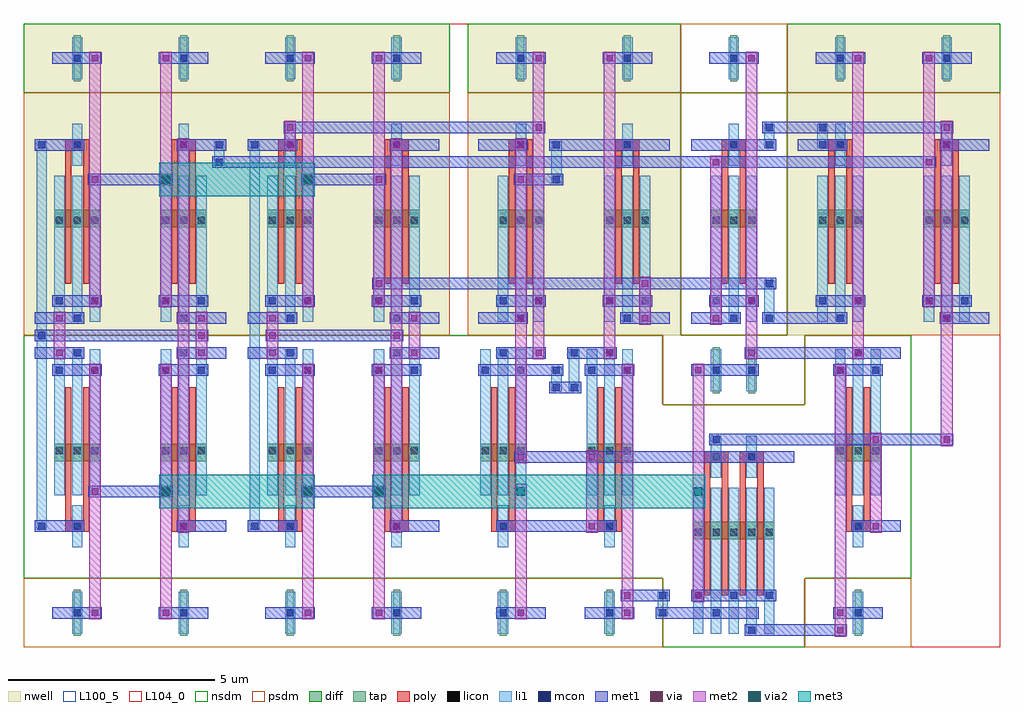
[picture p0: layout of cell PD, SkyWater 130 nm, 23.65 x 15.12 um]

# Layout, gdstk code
import gdstk
lib = gdstk.Library(unit=1e-6, precision=1e-09)
def R(c, l, rs):  # rectangles x0, y0, x1, y1
    for r in rs: c.add(gdstk.rectangle(r[:2], r[2:], *l))
def A(c, l, x, y, w, h, nx, ny, dx, dy):  # array of equal rectangles
    R(c, l, [(x+i*dx, y+j*dy, x+i*dx+w, y+j*dy+h) for i in range(nx) for j in range(ny)])
nwell = (64, 20)
diff = (65, 20)
tap = (65, 44)
poly = (66, 20)
licon = (66, 44)
li1 = (67, 20)
mcon = (67, 44)
met1 = (68, 20)
via = (68, 44)
met2 = (69, 20)
via2 = (69, 44)
met3 = (70, 20)
nsdm = (93, 44)
psdm = (94, 20)
L100_5 = (100, 5)
L104_0 = (104, 0)

c_pd = lib.new_cell('PD')
A(c_pd, nwell, 0, 7.56, 2.58, 7.56, 4, 1, 2.58, 0)
R(c_pd, nwell, [(10.75,7.56,13.33,15.12), (13.33,7.56,15.91,15.12), (18.49,7.56,21.07,15.12), (21.07,7.56,23.65,15.12)])
A(c_pd, diff, 0.735, 4.515, 1.11, 0.42, 6, 1, 2.58, 0)
A(c_pd, diff, 0.735, 10.185, 1.11, 0.42, 4, 1, 2.58, 0)
A(c_pd, diff, 11.485, 10.185, 1.11, 0.42, 5, 1, 2.58, 0)
R(c_pd, diff, [(16.215,2.625,18.185,3.045), (19.655,4.515,20.765,4.935)])
A(c_pd, tap, 1.205, 0.28, 0.17, 1.12, 6, 1, 2.58, 0)
A(c_pd, tap, 1.205, 13.72, 0.17, 1.12, 4, 1, 2.58, 0)
A(c_pd, tap, 11.955, 13.72, 0.17, 1.12, 5, 1, 2.58, 0)
R(c_pd, tap, [(20.125,0.28,20.295,1.4), (16.685,6.16,16.855,7.28), (17.545,6.16,17.715,7.28)])
A(c_pd, poly, 16.48, 1.26, 0.15, 3.36, 4, 1, 0.43, 0)
A(c_pd, poly, 1, 2.805, 0.58, 0.27, 6, 1, 2.58, 0)
A(c_pd, poly, 1, 12.045, 0.58, 0.27, 4, 1, 2.58, 0)
A(c_pd, poly, 11.75, 12.045, 0.58, 0.27, 5, 1, 2.58, 0)
R(c_pd, poly, [(19.92,2.805,20.5,3.075), (1,2.94,1.15,6.3), (1.43,2.94,1.58,6.3), (3.58,2.94,3.73,6.3), (4.01,2.94,4.16,6.3), (6.16,2.94,6.31,6.3), (6.59,2.94,6.74,6.3), (8.74,2.94,8.89,6.3), (9.17,2.94,9.32,6.3), (11.32,2.94,11.47,6.3), (11.75,2.94,11.9,6.3), (13.9,2.94,14.05,6.3), (14.33,2.94,14.48,6.3), (19.92,2.94,20.07,6.3), (20.35,2.94,20.5,6.3), (16.48,4.485,17.06,4.755), (17.34,4.485,17.92,4.755), (1,8.82,1.15,12.18), (1.43,8.82,1.58,12.18), (3.58,8.82,3.73,12.18), (4.01,8.82,4.16,12.18), (6.16,8.82,6.31,12.18), (6.59,8.82,6.74,12.18), (8.74,8.82,8.89,12.18), (9.17,8.82,9.32,12.18), (11.75,8.82,11.9,12.18), (12.18,8.82,12.33,12.18), (14.33,8.82,14.48,12.18), (14.76,8.82,14.91,12.18), (16.91,8.82,17.06,12.18), (17.34,8.82,17.49,12.18), (19.49,8.82,19.64,12.18), (19.92,8.82,20.07,12.18), (22.07,8.82,22.22,12.18), (22.5,8.82,22.65,12.18)])
A(c_pd, licon, 1.205, 0.755, 0.17, 0.17, 6, 2, 2.58, 2.1)
A(c_pd, licon, 16.255, 2.705, 0.17, 0.17, 3, 1, 0.43, 0)
A(c_pd, licon, 17.115, 2.705, 0.17, 0.17, 3, 1, 0.43, 0)
A(c_pd, licon, 0.775, 4.685, 0.17, 0.17, 3, 2, 0.43, 5.58)
A(c_pd, licon, 3.355, 4.685, 0.17, 0.17, 3, 2, 0.43, 5.58)
A(c_pd, licon, 5.935, 4.685, 0.17, 0.17, 3, 2, 0.43, 5.58)
A(c_pd, licon, 8.515, 4.685, 0.17, 0.17, 3, 2, 0.43, 5.58)
A(c_pd, licon, 11.095, 4.685, 0.17, 0.17, 3, 1, 0.43, 0)
A(c_pd, licon, 13.675, 4.685, 0.17, 0.17, 3, 1, 0.43, 0)
A(c_pd, licon, 19.695, 4.685, 0.17, 0.17, 3, 1, 0.43, 0)
A(c_pd, licon, 11.525, 10.265, 0.17, 0.17, 3, 1, 0.43, 0)
A(c_pd, licon, 14.105, 10.265, 0.17, 0.17, 3, 1, 0.43, 0)
A(c_pd, licon, 16.685, 10.265, 0.17, 0.17, 3, 1, 0.43, 0)
A(c_pd, licon, 19.265, 10.265, 0.17, 0.17, 3, 1, 0.43, 0)
A(c_pd, licon, 21.845, 10.265, 0.17, 0.17, 3, 1, 0.43, 0)
A(c_pd, licon, 1.205, 12.095, 0.17, 0.17, 4, 2, 2.58, 2.1)
A(c_pd, licon, 11.955, 12.095, 0.17, 0.17, 5, 2, 2.58, 2.1)
R(c_pd, licon, [(20.125,0.755,20.295,0.925), (20.125,2.855,20.295,3.025), (16.685,4.535,16.855,4.705), (17.545,4.535,17.715,4.705), (16.685,6.635,16.855,6.805), (17.545,6.635,17.715,6.805)])
A(c_pd, li1, 1.165, 0.335, 0.25, 1.01, 6, 2, 2.58, 2.1)
A(c_pd, li1, 16.215, 0.335, 0.25, 3.53, 5, 1, 0.43, 0)
A(c_pd, li1, 0.735, 3.695, 0.25, 3.53, 3, 2, 0.43, 4.2)
A(c_pd, li1, 3.315, 3.695, 0.25, 3.53, 3, 2, 0.43, 4.2)
A(c_pd, li1, 5.895, 3.695, 0.25, 3.53, 3, 2, 0.43, 4.2)
A(c_pd, li1, 8.475, 3.695, 0.25, 3.53, 3, 2, 0.43, 4.2)
A(c_pd, li1, 11.055, 3.695, 0.25, 3.53, 3, 1, 0.43, 0)
A(c_pd, li1, 13.635, 3.695, 0.25, 3.53, 3, 1, 0.43, 0)
A(c_pd, li1, 19.655, 3.695, 0.25, 3.53, 3, 1, 0.43, 0)
A(c_pd, li1, 11.485, 7.895, 0.25, 3.53, 3, 1, 0.43, 0)
A(c_pd, li1, 14.065, 7.895, 0.25, 3.53, 3, 1, 0.43, 0)
A(c_pd, li1, 16.645, 7.895, 0.25, 3.53, 3, 1, 0.43, 0)
A(c_pd, li1, 19.225, 7.895, 0.25, 3.53, 3, 1, 0.43, 0)
A(c_pd, li1, 21.805, 7.895, 0.25, 3.53, 3, 1, 0.43, 0)
A(c_pd, li1, 1.165, 11.675, 0.25, 1.01, 4, 2, 2.58, 2.1)
A(c_pd, li1, 11.915, 11.675, 0.25, 1.01, 5, 2, 2.58, 2.1)
R(c_pd, li1, [(20.085,0.335,20.335,1.345), (15.355,0.755,15.605,1.345), (20.085,2.435,20.335,3.445), (0.305,2.855,0.555,12.265), (5.465,2.855,5.715,12.265), (16.645,4.115,16.895,5.125), (17.505,4.115,17.755,5.125), (12.775,6.215,13.025,6.805), (13.205,6.215,13.455,7.225), (16.645,6.215,16.895,7.225), (17.505,6.215,17.755,7.225), (17.935,7.895,18.185,8.905), (12.775,11.255,13.025,12.265), (4.605,11.675,4.855,12.265), (17.935,12.095,18.185,12.685), (19.225,12.095,19.475,12.685)])
A(c_pd, mcon, 1.205, 0.755, 0.17, 0.17, 6, 1, 2.58, 0)
A(c_pd, mcon, 15.395, 1.175, 0.17, 0.17, 4, 1, 0.86, 0)
A(c_pd, mcon, 0.345, 2.855, 0.17, 0.17, 1, 3, 0, 4.62)
A(c_pd, mcon, 6.365, 2.855, 0.17, 0.17, 4, 1, 2.58, 0)
A(c_pd, mcon, 16.685, 4.955, 0.17, 0.17, 1, 3, 0, 1.68)
A(c_pd, mcon, 11.095, 6.635, 0.17, 0.17, 5, 1, 0.86, 0)
A(c_pd, mcon, 1.205, 7.055, 0.17, 0.17, 5, 1, 2.58, 0)
A(c_pd, mcon, 1.205, 7.895, 0.17, 0.17, 4, 2, 2.58, 6.3)
A(c_pd, mcon, 11.955, 7.895, 0.17, 0.17, 3, 1, 2.58, 0)
A(c_pd, mcon, 3.785, 12.095, 0.17, 0.17, 4, 1, 0.86, 0)
A(c_pd, mcon, 11.955, 14.195, 0.17, 0.17, 5, 1, 2.58, 0)
R(c_pd, mcon, [(17.545,0.335,17.715,0.505), (15.395,0.755,15.565,0.925), (16.685,0.755,16.855,0.925), (20.125,0.755,20.295,0.925), (1.205,2.855,1.375,3.025), (3.785,2.855,3.955,3.025), (5.505,2.855,5.675,3.025), (20.125,2.855,20.295,3.025), (17.545,4.535,17.715,4.705), (12.815,6.215,12.985,6.385), (13.245,6.215,13.415,6.385), (0.775,6.635,0.945,6.805), (1.635,6.635,1.805,6.805), (3.355,6.635,3.525,6.805), (4.215,6.635,4.385,6.805), (5.935,6.635,6.105,6.805), (6.795,6.635,6.965,6.805), (8.515,6.635,8.685,6.805), (9.375,6.635,9.545,6.805), (17.545,6.635,17.715,6.805), (19.695,6.635,19.865,6.805), (20.555,6.635,20.725,6.805), (13.245,7.055,13.415,7.225), (14.105,7.055,14.275,7.225), (20.125,7.055,20.295,7.225), (17.975,7.895,18.145,8.065), (19.695,7.895,19.865,8.065), (22.275,7.895,22.445,8.065), (0.775,8.315,0.945,8.485), (1.635,8.315,1.805,8.485), (3.355,8.315,3.525,8.485), (4.215,8.315,4.385,8.485), (5.935,8.315,6.105,8.485), (6.795,8.315,6.965,8.485), (8.515,8.315,8.685,8.485), (9.375,8.315,9.545,8.485), (11.525,8.315,11.695,8.485), (12.385,8.315,12.555,8.485), (14.105,8.315,14.275,8.485), (14.965,8.315,15.135,8.485), (17.545,8.315,17.715,8.485), (19.265,8.315,19.435,8.485), (20.125,8.315,20.295,8.485), (21.845,8.315,22.015,8.485), (22.705,8.315,22.875,8.485), (17.975,8.735,18.145,8.905), (12.815,11.255,12.985,11.425), (4.645,11.675,4.815,11.845), (1.205,12.095,1.375,12.265), (8.945,12.095,9.115,12.265), (11.955,12.095,12.125,12.265), (12.815,12.095,12.985,12.265), (14.535,12.095,14.705,12.265), (17.115,12.095,17.285,12.265), (17.975,12.095,18.145,12.265), (19.265,12.095,19.435,12.265), (19.695,12.095,19.865,12.265), (22.275,12.095,22.445,12.265), (17.975,12.515,18.145,12.685), (19.265,12.515,19.435,12.685)])
A(c_pd, met1, 0.69, 0.7, 1.2, 0.28, 4, 2, 2.58, 5.88)
A(c_pd, met1, 0.69, 8.26, 1.2, 0.28, 4, 2, 2.58, 5.88)
A(c_pd, met1, 11.44, 8.26, 1.2, 0.28, 5, 2, 2.58, 5.88)
R(c_pd, met1, [(17.46,0.28,19.94,0.56), (11.44,0.7,12.64,0.98), (13.59,0.7,14.79,0.98), (15.31,0.7,17.8,0.98), (19.61,0.7,20.81,0.98), (14.46,1.12,15.65,1.4), (16.17,1.12,18.23,1.4), (0.26,2.8,1.46,3.08), (3.7,2.8,4.9,3.08), (5.42,2.8,6.62,3.08), (8.86,2.8,10.06,3.08), (11.44,2.8,14.36,3.08), (20.04,2.8,21.24,3.08), (1.56,3.64,3.6,3.92), (6.72,3.64,8.76,3.92), (11.88,4.48,18.66,4.76), (16.6,4.9,22.52,5.18), (12.73,6.16,13.5,6.44), (11.01,6.58,13.07,6.86), (13.59,6.58,14.79,6.86), (16.17,6.58,17.8,6.86), (19.61,6.58,20.81,6.86), (0.26,7,1.46,7.28), (3.7,7,4.9,7.28), (5.42,7,6.62,7.28), (8.86,7,10.06,7.28), (11.44,7,12.64,7.28), (13.16,7,14.36,7.28), (17.47,7,21.24,7.28), (0.26,7.42,4.46,7.7), (5.86,7.42,9.19,7.7), (0.26,7.84,1.46,8.12), (3.7,7.84,4.9,8.12), (5.42,7.84,6.62,8.12), (8.86,7.84,10.06,8.12), (11.01,7.84,12.21,8.12), (14.45,7.84,15.65,8.12), (16.17,7.84,17.37,8.12), (17.89,7.84,19.95,8.12), (22.19,7.84,23.39,8.12), (8.44,8.68,18.23,8.96), (1.56,11.2,3.6,11.48), (6.72,11.2,8.76,11.48), (11.88,11.2,13.07,11.48), (4.56,11.62,22.09,11.9), (0.26,12.04,1.46,12.32), (3.7,12.04,4.9,12.32), (5.42,12.04,6.62,12.32), (8.86,12.04,10.06,12.32), (11.01,12.04,12.21,12.32), (12.73,12.04,15.65,12.32), (16.17,12.04,18.23,12.32), (18.75,12.04,19.95,12.32), (22.19,12.04,23.39,12.32), (6.29,12.46,12.63,12.74), (17.89,12.46,22.52,12.74)])
A(c_pd, via, 1.645, 0.765, 0.15, 0.15, 1, 3, 0, 2.94)
A(c_pd, via, 3.365, 0.765, 0.15, 0.15, 1, 3, 0, 2.94)
A(c_pd, via, 6.805, 0.765, 0.15, 0.15, 1, 3, 0, 2.94)
A(c_pd, via, 8.525, 0.765, 0.15, 0.15, 1, 3, 0, 2.94)
A(c_pd, via, 11.965, 4.545, 0.15, 0.15, 1, 3, 0, 3.36)
A(c_pd, via, 4.225, 7.065, 0.15, 0.15, 1, 3, 0, 0.42)
A(c_pd, via, 5.945, 7.065, 0.15, 0.15, 1, 3, 0, 0.42)
A(c_pd, via, 1.645, 8.325, 0.15, 0.15, 1, 3, 0, 2.94)
A(c_pd, via, 3.365, 8.325, 0.15, 0.15, 1, 3, 0, 2.94)
A(c_pd, via, 6.805, 8.325, 0.15, 0.15, 1, 3, 0, 2.94)
A(c_pd, via, 3.795, 12.105, 0.15, 0.15, 3, 1, 2.58, 0)
R(c_pd, via, [(19.705,0.345,19.855,0.495), (11.965,0.765,12.115,0.915), (14.545,0.765,14.695,0.915), (19.705,0.765,19.855,0.915), (14.545,1.185,14.695,1.335), (16.265,1.185,16.415,1.335), (3.795,2.865,3.945,3.015), (8.955,2.865,9.105,3.015), (13.685,2.865,13.835,3.015), (20.565,2.865,20.715,3.015), (13.685,4.545,13.835,4.695), (20.565,4.965,20.715,5.115), (22.285,4.965,22.435,5.115), (14.545,6.645,14.695,6.795), (16.265,6.645,16.415,6.795), (19.705,6.645,19.855,6.795), (0.785,7.065,0.935,7.215), (9.385,7.065,9.535,7.215), (12.395,7.065,12.545,7.215), (14.115,7.065,14.265,7.215), (17.555,7.065,17.705,7.215), (20.135,7.065,20.285,7.215), (8.955,7.485,9.105,7.635), (0.785,7.905,0.935,8.055), (9.385,7.905,9.535,8.055), (14.975,7.905,15.125,8.055), (16.695,7.905,16.845,8.055), (22.285,7.905,22.435,8.055), (8.525,8.325,8.675,8.475), (12.395,8.325,12.545,8.475), (14.115,8.325,14.265,8.475), (17.555,8.325,17.705,8.475), (20.135,8.325,20.285,8.475), (21.855,8.325,22.005,8.475), (8.525,8.745,8.675,8.895), (14.975,8.745,15.125,8.895), (8.525,11.265,8.675,11.415), (16.695,11.685,16.845,11.835), (21.855,11.685,22.005,11.835), (11.965,12.105,12.115,12.255), (22.285,12.105,22.435,12.255), (6.375,12.525,6.525,12.675), (12.395,12.525,12.545,12.675), (22.285,12.525,22.435,12.675), (8.525,14.205,8.675,14.355), (12.395,14.205,12.545,14.355), (14.115,14.205,14.265,14.355), (17.555,14.205,17.705,14.355), (20.135,14.205,20.285,14.355), (21.855,14.205,22.005,14.355)])
R(c_pd, met2, [(19.64,0.26,19.92,6.88), (1.58,0.68,1.86,6.88), (3.3,0.68,3.58,6.88), (6.74,0.68,7.02,6.88), (8.46,0.68,8.74,6.88), (11.9,0.68,12.18,3.965), (14.48,0.68,14.76,6.88), (16.2,1.1,16.48,6.88), (3.73,2.78,4.01,12.34), (8.89,2.78,9.17,12.34), (13.62,2.78,13.9,4.78), (20.5,2.78,20.78,5.2), (11.9,4.46,12.18,12.34), (22.22,4.88,22.5,12.76), (0.72,6.98,1,8.14), (4.16,6.98,4.44,8.14), (5.88,6.98,6.16,8.14), (9.32,6.98,9.6,8.14), (12.33,6.98,12.61,14.44), (14.05,6.98,14.33,14.44), (17.49,6.98,17.77,14.44), (20.07,6.98,20.35,14.44), (14.91,7.82,15.19,8.98), (16.63,7.82,16.91,11.92), (1.58,8.24,1.86,14.44), (3.3,8.24,3.58,14.44), (6.74,8.24,7.02,14.44), (8.46,8.24,8.74,14.44), (21.79,8.24,22.07,14.44), (6.31,12.02,6.59,12.76)])
R(c_pd, via2, [(3.34,3.68,3.54,3.88), (6.78,3.68,6.98,3.88), (8.5,3.68,8.7,3.88), (11.94,3.68,12.14,3.88), (16.24,3.68,16.44,3.88), (3.34,11.24,3.54,11.44), (6.78,11.24,6.98,11.44)])
R(c_pd, met3, [(3.275,3.38,7.045,4.18), (8.435,3.38,16.505,4.18), (3.275,10.94,7.045,11.74)])
A(c_pd, nsdm, 0, 1.68, 2.58, 5.88, 6, 1, 2.58, 0)
A(c_pd, nsdm, 0, 13.44, 2.58, 1.68, 4, 1, 2.58, 0)
R(c_pd, nsdm, [(15.48,0,18.92,5.88), (18.92,1.68,21.5,7.56), (15.91,7.56,18.49,13.44), (10.75,13.44,13.33,15.12), (13.33,13.44,15.91,15.12), (18.49,13.44,21.07,15.12), (21.07,13.44,23.65,15.12)])
A(c_pd, psdm, 0, 0, 2.58, 1.68, 6, 1, 2.58, 0)
A(c_pd, psdm, 0, 7.56, 2.58, 5.88, 4, 1, 2.58, 0)
R(c_pd, psdm, [(18.92,0,21.5,1.68), (15.48,5.88,18.92,7.56), (10.75,7.56,13.33,13.44), (13.33,7.56,15.91,13.44), (18.49,7.56,21.07,13.44), (21.07,7.56,23.65,13.44), (15.91,13.44,18.49,15.12)])
R(c_pd, L100_5, [(0,0,23.65,15.12)])
R(c_pd, L104_0, [(0,0,23.65,15.12)])

lib.write_gds('PD.gds')
